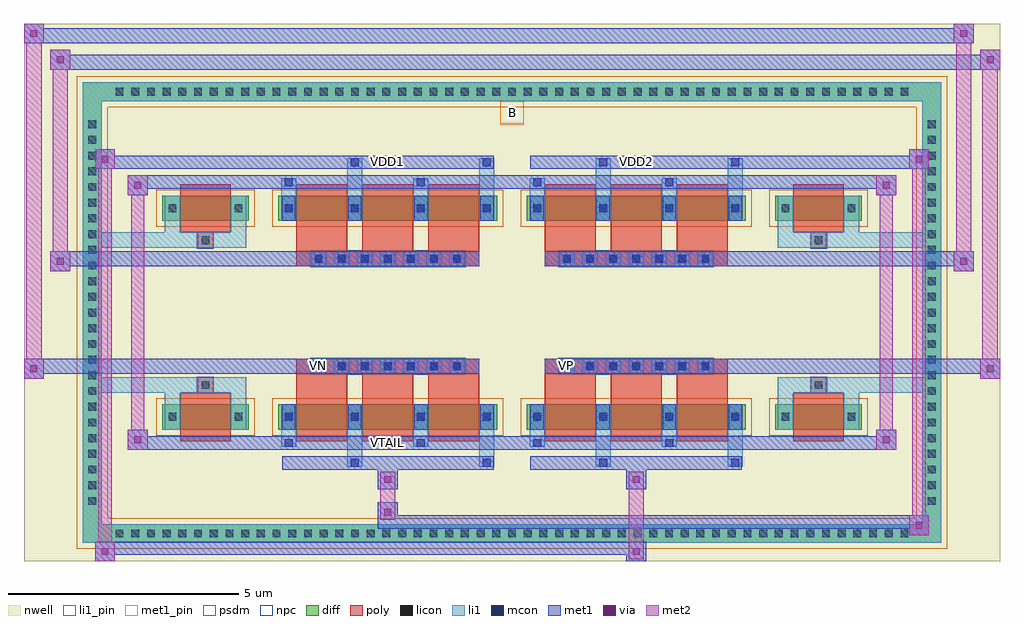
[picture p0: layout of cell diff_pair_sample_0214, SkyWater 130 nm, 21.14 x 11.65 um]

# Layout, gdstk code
import gdstk
lib = gdstk.Library(unit=1e-6, precision=5e-09)
def R(c, l, rs):  # rectangles x0, y0, x1, y1
    for r in rs: c.add(gdstk.rectangle(r[:2], r[2:], *l))
def A(c, l, x, y, w, h, nx, ny, dx, dy):  # array of equal rectangles
    R(c, l, [(x+i*dx, y+j*dy, x+i*dx+w, y+j*dy+h) for i in range(nx) for j in range(ny)])
def P(c, l, *ps):  # polygons
    for p in ps: c.add(gdstk.Polygon(p, *l))
nwell = (64, 20)
diff = (65, 20)
poly = (66, 20)
licon = (66, 44)
li1_pin = (67, 16)
li1 = (67, 20)
mcon = (67, 44)
met1_pin = (68, 16)
met1 = (68, 20)
via = (68, 44)
met2 = (69, 20)
psdm = (94, 20)
npc = (95, 20)

diff_pair_sample_0214 = lib.new_cell('diff_pair_sample_0214')
R(diff_pair_sample_0214, nwell, [(-10.57,-5.39,10.57,6.26), (-7.89,-3.58,-0.01,-0.8), (0.01,-3.58,7.89,-0.8), (-7.89,0.8,-0.01,3.58), (0.01,0.8,7.89,3.58)])
A(diff_pair_sample_0214, diff, -8.705, -4.99, 0.41, 0.41, 51, 2, 0.34, 9.57)
A(diff_pair_sample_0214, diff, -9.3, -4.285, 0.41, 0.41, 1, 25, 0, 0.34)
A(diff_pair_sample_0214, diff, 8.89, -4.285, 0.41, 0.41, 1, 25, 0, 0.34)
R(diff_pair_sample_0214, diff, [(-8.705,-4.99,8.705,-4.58), (-9.3,-4.285,-8.89,4.285), (8.89,-4.285,9.3,4.285), (-7.58,-2.535,-5.7,-1.985), (-5.06,-2.535,-0.32,-1.985), (0.32,-2.535,5.06,-1.985), (5.7,-2.535,7.58,-1.985), (-7.58,1.985,-5.7,2.535), (-5.06,1.985,-0.32,2.535), (0.32,1.985,5.06,2.535), (5.7,1.985,7.58,2.535), (-8.705,4.58,8.705,4.99)])
P(diff_pair_sample_0214, diff, [(9.3,4.99),(-9.3,4.99),(-9.3,-4.58),(-8.89,-4.58),(-8.89,4.58),(8.89,4.58),(8.89,-4.58),(-8.89,-4.58),(-9.3,-4.58),(-9.3,-4.99),(9.3,-4.99)])
A(diff_pair_sample_0214, poly, -4.67, -2.785, 1.1, 1.05, 3, 2, 1.43, 4.52)
A(diff_pair_sample_0214, poly, 0.71, -2.785, 1.1, 1.05, 3, 2, 1.43, 4.52)
A(diff_pair_sample_0214, poly, -4.67, -1.735, 1.1, 0.405, 3, 2, 1.43, 3.065)
A(diff_pair_sample_0214, poly, 0.71, -1.735, 1.1, 0.405, 3, 2, 1.43, 3.065)
A(diff_pair_sample_0214, poly, -4.355, -1.33, 0.33, 0.33, 7, 2, 0.5, 2.33)
A(diff_pair_sample_0214, poly, 1.025, -1.33, 0.33, 0.33, 7, 2, 0.5, 2.33)
R(diff_pair_sample_0214, poly, [(-7.19,-2.785,-6.09,-1.735), (6.09,-2.785,7.19,-1.735), (-6.805,-1.735,-6.475,-1.405), (-6.805,-1.735,-6.475,-1.405), (6.475,-1.735,6.805,-1.405), (6.475,-1.735,6.805,-1.405), (-4.67,-1.33,-0.71,-1), (0.71,-1.33,4.67,-1), (-4.67,1,-0.71,1.33), (0.71,1,4.67,1.33), (-6.805,1.405,-6.475,1.735), (-6.805,1.405,-6.475,1.735), (6.475,1.405,6.805,1.735), (6.475,1.405,6.805,1.735), (-7.19,1.735,-6.09,2.785), (6.09,1.735,7.19,2.785)])
A(diff_pair_sample_0214, licon, -8.585, -4.87, 0.17, 0.17, 51, 2, 0.34, 9.57)
A(diff_pair_sample_0214, licon, -9.18, -4.165, 0.17, 0.17, 1, 25, 0, 0.34)
A(diff_pair_sample_0214, licon, 9.01, -4.165, 0.17, 0.17, 1, 25, 0, 0.34)
A(diff_pair_sample_0214, licon, -4.92, -2.345, 0.17, 0.17, 4, 2, 1.43, 4.52)
A(diff_pair_sample_0214, licon, 0.46, -2.345, 0.17, 0.17, 4, 2, 1.43, 4.52)
A(diff_pair_sample_0214, licon, -4.275, -1.25, 0.17, 0.17, 7, 2, 0.5, 2.33)
A(diff_pair_sample_0214, licon, 1.105, -1.25, 0.17, 0.17, 7, 2, 0.5, 2.33)
R(diff_pair_sample_0214, licon, [(-7.44,-2.345,-7.27,-2.175), (-6.01,-2.345,-5.84,-2.175), (5.84,-2.345,6.01,-2.175), (7.27,-2.345,7.44,-2.175), (-6.725,-1.655,-6.555,-1.485), (6.555,-1.655,6.725,-1.485), (-6.725,1.485,-6.555,1.655), (6.555,1.485,6.725,1.655), (-7.44,2.175,-7.27,2.345), (-6.01,2.175,-5.84,2.345), (5.84,2.175,6.01,2.345), (7.27,2.175,7.44,2.345)])
R(diff_pair_sample_0214, li1_pin, [(-0.25,4.08,0.25,4.58)])
A(diff_pair_sample_0214, li1, -8.665, -4.95, 0.33, 0.33, 51, 2, 0.34, 9.57)
A(diff_pair_sample_0214, li1, -9.26, -4.245, 0.33, 0.33, 1, 25, 0, 0.34)
A(diff_pair_sample_0214, li1, 8.93, -4.245, 0.33, 0.33, 1, 25, 0, 0.34)
A(diff_pair_sample_0214, li1, -5, -2.535, 0.33, 0.55, 4, 2, 1.43, 4.52)
A(diff_pair_sample_0214, li1, 0.38, -2.535, 0.33, 0.55, 4, 2, 1.43, 4.52)
A(diff_pair_sample_0214, li1, -5, -2.425, 0.33, 0.33, 4, 2, 1.43, 4.52)
A(diff_pair_sample_0214, li1, 0.38, -2.425, 0.33, 0.33, 4, 2, 1.43, 4.52)
A(diff_pair_sample_0214, li1, -4.355, -1.33, 0.33, 0.33, 7, 2, 0.5, 2.33)
A(diff_pair_sample_0214, li1, 1.025, -1.33, 0.33, 0.33, 7, 2, 0.5, 2.33)
R(diff_pair_sample_0214, li1, [(-9.3,-4.99,-8.89,-4.58), (-9.3,-4.99,-8.89,-4.58), (-8.89,-4.99,8.89,-4.58), (8.89,-4.99,9.3,-4.58), (8.89,-4.99,9.3,-4.58), (-9.3,-4.58,-8.89,4.58), (8.89,-4.58,9.3,4.58), (-3.57,-3.34,-3.24,-2.535), (-3.49,-3.34,-3.32,-3.17), (-0.71,-3.34,-0.38,-2.535), (-0.63,-3.34,-0.46,-3.17), (1.81,-3.34,2.14,-2.535), (1.89,-3.34,2.06,-3.17), (4.67,-3.34,5,-2.535), (4.75,-3.34,4.92,-3.17), (-5,-2.91,-4.67,-2.535), (-4.92,-2.91,-4.75,-2.74), (-2.14,-2.91,-1.81,-2.535), (-2.06,-2.91,-1.89,-2.74), (0.38,-2.91,0.71,-2.535), (0.46,-2.91,0.63,-2.74), (3.24,-2.91,3.57,-2.535), (3.32,-2.91,3.49,-2.74), (-7.52,-2.535,-7.19,-1.985), (-6.09,-2.535,-5.76,-1.985), (5.76,-2.535,6.09,-1.985), (7.19,-2.535,7.52,-1.985), (-7.52,-2.425,-7.19,-2.095), (-6.09,-2.425,-5.76,-2.095), (5.76,-2.425,6.09,-2.095), (7.19,-2.425,7.52,-2.095), (-4.92,-2.345,-4.75,-2.175), (-4.92,-2.345,-4.75,-2.175), (-3.49,-2.345,-3.32,-2.175), (-3.49,-2.345,-3.32,-2.175), (-2.06,-2.345,-1.89,-2.175), (-2.06,-2.345,-1.89,-2.175), (-0.63,-2.345,-0.46,-2.175), (-0.63,-2.345,-0.46,-2.175), (0.46,-2.345,0.63,-2.175), (0.46,-2.345,0.63,-2.175), (1.89,-2.345,2.06,-2.175), (1.89,-2.345,2.06,-2.175), (3.32,-2.345,3.49,-2.175), (3.32,-2.345,3.49,-2.175), (4.75,-2.345,4.92,-2.175), (4.75,-2.345,4.92,-2.175), (-7.52,-1.985,-7.19,-1.405), (-6.09,-1.985,-5.76,-1.405), (5.76,-1.985,6.09,-1.405), (7.19,-1.985,7.52,-1.405), (-9.3,-1.735,-6.805,-1.405), (-7.52,-1.735,-6.805,-1.405), (-6.805,-1.735,-6.475,-1.405), (-6.475,-1.735,-5.76,-1.405), (5.76,-1.735,6.475,-1.405), (6.475,-1.735,6.805,-1.405), (6.475,-1.735,9.3,-1.405), (6.805,-1.735,7.52,-1.405), (-9.3,1.405,-6.805,1.735), (-7.52,1.405,-6.805,1.735), (-7.52,1.405,-7.19,1.985), (-6.805,1.405,-6.475,1.735), (-6.475,1.405,-5.76,1.735), (-6.09,1.405,-5.76,1.985), (5.76,1.405,6.475,1.735), (5.76,1.405,6.09,1.985), (6.475,1.405,6.805,1.735), (6.475,1.405,9.3,1.735), (6.805,1.405,7.52,1.735), (7.19,1.405,7.52,1.985), (-7.52,1.985,-7.19,2.535), (-6.09,1.985,-5.76,2.535), (5.76,1.985,6.09,2.535), (7.19,1.985,7.52,2.535), (-7.52,2.095,-7.19,2.425), (-6.09,2.095,-5.76,2.425), (5.76,2.095,6.09,2.425), (7.19,2.095,7.52,2.425), (-4.92,2.175,-4.75,2.345), (-4.92,2.175,-4.75,2.345), (-3.49,2.175,-3.32,2.345), (-3.49,2.175,-3.32,2.345), (-2.06,2.175,-1.89,2.345), (-2.06,2.175,-1.89,2.345), (-0.63,2.175,-0.46,2.345), (-0.63,2.175,-0.46,2.345), (0.46,2.175,0.63,2.345), (0.46,2.175,0.63,2.345), (1.89,2.175,2.06,2.345), (1.89,2.175,2.06,2.345), (3.32,2.175,3.49,2.345), (3.32,2.175,3.49,2.345), (4.75,2.175,4.92,2.345), (4.75,2.175,4.92,2.345), (-5,2.535,-4.67,2.91), (-3.57,2.535,-3.24,3.34), (-2.14,2.535,-1.81,2.91), (-0.71,2.535,-0.38,3.34), (0.38,2.535,0.71,2.91), (1.81,2.535,2.14,3.34), (3.24,2.535,3.57,2.91), (4.67,2.535,5,3.34), (-4.92,2.74,-4.75,2.91), (-2.06,2.74,-1.89,2.91), (0.46,2.74,0.63,2.91), (3.32,2.74,3.49,2.91), (-3.49,3.17,-3.32,3.34), (-0.63,3.17,-0.46,3.34), (1.89,3.17,2.06,3.34), (4.75,3.17,4.92,3.34), (-9.3,4.58,-8.89,4.99), (-9.3,4.58,-8.89,4.99), (-8.89,4.58,8.89,4.99), (8.89,4.58,9.3,4.99), (8.89,4.58,9.3,4.99)])
A(diff_pair_sample_0214, mcon, -4.92, -2.345, 0.17, 0.17, 4, 2, 1.43, 4.52)
A(diff_pair_sample_0214, mcon, 0.46, -2.345, 0.17, 0.17, 4, 2, 1.43, 4.52)
A(diff_pair_sample_0214, mcon, -4.275, -1.25, 0.17, 0.17, 7, 2, 0.5, 2.33)
A(diff_pair_sample_0214, mcon, 1.105, -1.25, 0.17, 0.17, 7, 2, 0.5, 2.33)
R(diff_pair_sample_0214, mcon, [(-3.49,-3.34,-3.32,-3.17), (-0.63,-3.34,-0.46,-3.17), (1.89,-3.34,2.06,-3.17), (4.75,-3.34,4.92,-3.17), (-4.92,-2.91,-4.75,-2.74), (-2.06,-2.91,-1.89,-2.74), (0.46,-2.91,0.63,-2.74), (3.32,-2.91,3.49,-2.74), (-4.92,2.74,-4.75,2.91), (-2.06,2.74,-1.89,2.91), (0.46,2.74,0.63,2.91), (3.32,2.74,3.49,2.91), (-3.49,3.17,-3.32,3.34), (-0.63,3.17,-0.46,3.34), (1.89,3.17,2.06,3.34), (4.75,3.17,4.92,3.34)])
R(diff_pair_sample_0214, met1_pin, [(-2.825,-2.95,-2.555,-2.68), (-4.325,-1.29,-4.055,-1.02), (1.055,-1.29,1.325,-1.02), (-2.825,3.13,-2.555,3.4), (2.555,3.13,2.825,3.4)])
A(diff_pair_sample_0214, met1, -4.98, -2.535, 0.29, 0.55, 4, 2, 1.43, 4.52)
A(diff_pair_sample_0214, met1, 0.4, -2.535, 0.29, 0.55, 4, 2, 1.43, 4.52)
A(diff_pair_sample_0214, met1, -4.98, -2.405, 0.29, 0.29, 4, 2, 1.43, 4.52)
A(diff_pair_sample_0214, met1, 0.4, -2.405, 0.29, 0.29, 4, 2, 1.43, 4.52)
A(diff_pair_sample_0214, met1, -4.335, -1.31, 0.29, 0.29, 7, 2, 0.5, 2.33)
A(diff_pair_sample_0214, met1, 1.045, -1.31, 0.29, 0.29, 7, 2, 0.5, 2.33)
R(diff_pair_sample_0214, met1, [(-9.03,-5.39,-8.6,-4.96), (2.475,-5.39,2.905,-4.96), (-9.03,-5.25,2.905,-4.96), (8.6,-4.82,9.03,-4.39), (-2.905,-4.68,9.03,-4.39), (-2.905,-4.54,-2.475,-4.11), (-2.905,-3.83,-2.475,-3.4), (2.475,-3.83,2.905,-3.4), (-4.98,-3.4,-0.4,-3.11), (-3.55,-3.4,-3.26,-3.11), (-0.69,-3.4,-0.4,-3.11), (0.4,-3.4,4.98,-3.11), (1.83,-3.4,2.12,-3.11), (4.69,-3.4,4.98,-3.11), (-8.32,-2.97,-7.89,-2.54), (-8.32,-2.97,-4.98,-2.68), (-4.98,-2.97,-4.69,-2.68), (-4.98,-2.97,-0.4,-2.68), (-2.12,-2.97,-1.83,-2.68), (-0.4,-2.97,0.4,-2.68), (0.4,-2.97,0.69,-2.68), (0.4,-2.97,4.98,-2.68), (3.26,-2.97,3.55,-2.68), (4.98,-2.97,8.32,-2.68), (7.89,-2.97,8.32,-2.54), (-10.57,-1.43,-10.14,-1), (10.14,-1.43,10.57,-1), (-10.57,-1.33,-0.71,-1), (-4.67,-1.33,-0.71,-1), (0.71,-1.33,4.67,-1), (0.71,-1.33,10.57,-1), (-10,0.9,-9.57,1.33), (9.57,0.9,10,1.33), (-10,1,-4.67,1.33), (-4.67,1,-0.71,1.33), (0.71,1,4.67,1.33), (4.67,1,10,1.33), (-8.32,2.54,-7.89,2.97), (7.89,2.54,8.32,2.97), (-8.32,2.68,-4.98,2.97), (-4.98,2.68,-4.69,2.97), (-4.98,2.68,-0.4,2.97), (-2.12,2.68,-1.83,2.97), (-0.4,2.68,0.4,2.97), (0.4,2.68,0.69,2.97), (0.4,2.68,4.98,2.97), (3.26,2.68,3.55,2.97), (4.98,2.68,8.32,2.97), (-9.03,3.11,-8.6,3.54), (-9.03,3.11,-4.98,3.4), (-4.98,3.11,-0.4,3.4), (-3.55,3.11,-3.26,3.4), (-0.69,3.11,-0.4,3.4), (0.4,3.11,4.98,3.4), (1.83,3.11,2.12,3.4), (4.69,3.11,4.98,3.4), (4.98,3.11,9.03,3.4), (8.6,3.11,9.03,3.54), (-10,5.26,-9.57,5.69), (-10,5.26,-7.89,5.59), (-7.89,5.26,7.89,5.59), (7.89,5.26,10.57,5.59), (10.14,5.26,10.57,5.69), (-10.57,5.83,-10.14,6.26), (-10.57,5.83,-7.89,6.16), (-7.89,5.83,7.89,6.16), (7.89,5.83,10,6.16), (9.57,5.83,10,6.26)])
R(diff_pair_sample_0214, via, [(-8.89,-5.25,-8.74,-5.1), (2.615,-5.25,2.765,-5.1), (8.74,-4.68,8.89,-4.53), (-2.765,-4.4,-2.615,-4.25), (-2.765,-3.69,-2.615,-3.54), (2.615,-3.69,2.765,-3.54), (-8.18,-2.83,-8.03,-2.68), (8.03,-2.83,8.18,-2.68), (-10.43,-1.29,-10.28,-1.14), (10.28,-1.29,10.43,-1.14), (-9.86,1.04,-9.71,1.19), (9.71,1.04,9.86,1.19), (-8.18,2.68,-8.03,2.83), (8.03,2.68,8.18,2.83), (-8.89,3.25,-8.74,3.4), (8.74,3.25,8.89,3.4), (-9.86,5.4,-9.71,5.55), (10.28,5.4,10.43,5.55), (-10.43,5.97,-10.28,6.12), (9.71,5.97,9.86,6.12)])
R(diff_pair_sample_0214, met2, [(-9.03,-5.39,-8.6,-4.96), (-8.96,-5.39,-8.67,3.54), (-8.67,-5.39,-8.6,-4.96), (-8.98,-5.34,-8.65,-5.01), (2.525,-5.34,2.855,-5.01), (2.525,-5.01,2.855,-3.78), (8.6,-4.82,9.03,-4.39), (8.67,-4.82,8.96,3.54), (8.96,-4.82,9.03,-4.39), (8.65,-4.77,8.98,-4.44), (-2.855,-4.49,-2.525,-4.16), (-2.855,-4.16,-2.525,-3.78), (-2.855,-3.78,-2.525,-3.45), (2.525,-3.78,2.855,-3.45), (-8.32,-2.97,-7.89,-2.54), (-8.25,-2.97,-7.96,2.97), (-7.96,-2.97,-7.89,-2.54), (7.89,-2.97,8.32,-2.54), (7.96,-2.97,8.25,2.97), (8.25,-2.97,8.32,-2.54), (-8.27,-2.92,-7.94,-2.59), (7.94,-2.92,8.27,-2.59), (-10.57,-1.43,-10.14,-1), (-10.52,-1.43,-10.19,6.26), (-10.19,-1.43,-10.14,-1), (10.14,-1.43,10.57,-1), (10.19,-1.43,10.52,5.69), (10.52,-1.43,10.57,-1), (-10.52,-1.38,-10.19,-1.05), (10.19,-1.38,10.52,-1.05), (-10,0.9,-9.57,1.33), (-9.95,0.9,-9.62,5.69), (-9.62,0.9,-9.57,1.33), (9.57,0.9,10,1.33), (9.62,0.9,9.95,6.26), (9.95,0.9,10,1.33), (-9.95,0.95,-9.62,1.28), (9.62,0.95,9.95,1.28), (-8.32,2.54,-7.89,2.97), (-7.96,2.54,-7.89,2.97), (7.89,2.54,8.32,2.97), (8.25,2.54,8.32,2.97), (-8.27,2.59,-7.94,2.92), (7.94,2.59,8.27,2.92), (-9.03,3.11,-8.6,3.54), (-8.67,3.11,-8.6,3.54), (8.6,3.11,9.03,3.54), (8.96,3.11,9.03,3.54), (-8.98,3.16,-8.65,3.49), (8.65,3.16,8.98,3.49), (-10,5.26,-9.57,5.69), (-9.62,5.26,-9.57,5.69), (10.14,5.26,10.57,5.69), (10.52,5.26,10.57,5.69), (-9.95,5.31,-9.62,5.64), (10.19,5.31,10.52,5.64), (-10.57,5.83,-10.14,6.26), (-10.19,5.83,-10.14,6.26), (9.57,5.83,10,6.26), (9.95,5.83,10,6.26), (-10.52,5.88,-10.19,6.21), (9.62,5.88,9.95,6.21)])
R(diff_pair_sample_0214, psdm, [(-7.71,-2.665,-5.57,-1.855), (-5.19,-2.665,-0.19,-1.855), (0.19,-2.665,5.19,-1.855), (5.57,-2.665,7.71,-1.855), (-7.71,1.855,-5.57,2.665), (-5.19,1.855,-0.19,2.665), (0.19,1.855,5.19,2.665), (5.57,1.855,7.71,2.665)])
P(diff_pair_sample_0214, psdm, [(9.43,5.12),(-9.43,5.12),(-9.43,-4.45),(-8.76,-4.45),(-8.76,4.45),(8.76,4.45),(8.76,-4.45),(-8.76,-4.45),(-9.43,-4.45),(-9.43,-5.12),(9.43,-5.12)])
A(diff_pair_sample_0214, npc, -4.375, -1.35, 0.37, 0.37, 7, 2, 0.5, 2.33)
A(diff_pair_sample_0214, npc, 1.005, -1.35, 0.37, 0.37, 7, 2, 0.5, 2.33)
R(diff_pair_sample_0214, npc, [(-6.825,-1.755,-6.455,-1.385), (6.455,-1.755,6.825,-1.385), (-4.375,-1.35,-3.505,-0.98), (-4.375,-1.35,-3.505,-0.98), (-3.875,-1.35,-3.005,-0.98), (-3.875,-1.35,-3.005,-0.98), (-3.375,-1.35,-2.505,-0.98), (-3.375,-1.35,-2.505,-0.98), (-2.875,-1.35,-2.005,-0.98), (-2.875,-1.35,-2.005,-0.98), (-2.375,-1.35,-1.505,-0.98), (-2.375,-1.35,-1.505,-0.98), (-1.875,-1.35,-1.005,-0.98), (-1.875,-1.35,-1.005,-0.98), (1.005,-1.35,1.875,-0.98), (1.005,-1.35,1.875,-0.98), (1.505,-1.35,2.375,-0.98), (1.505,-1.35,2.375,-0.98), (2.005,-1.35,2.875,-0.98), (2.005,-1.35,2.875,-0.98), (2.505,-1.35,3.375,-0.98), (2.505,-1.35,3.375,-0.98), (3.005,-1.35,3.875,-0.98), (3.005,-1.35,3.875,-0.98), (3.505,-1.35,4.375,-0.98), (3.505,-1.35,4.375,-0.98), (-4.375,0.98,-3.505,1.35), (-4.375,0.98,-3.505,1.35), (-3.875,0.98,-3.005,1.35), (-3.875,0.98,-3.005,1.35), (-3.375,0.98,-2.505,1.35), (-3.375,0.98,-2.505,1.35), (-2.875,0.98,-2.005,1.35), (-2.875,0.98,-2.005,1.35), (-2.375,0.98,-1.505,1.35), (-2.375,0.98,-1.505,1.35), (-1.875,0.98,-1.005,1.35), (-1.875,0.98,-1.005,1.35), (1.005,0.98,1.875,1.35), (1.005,0.98,1.875,1.35), (1.505,0.98,2.375,1.35), (1.505,0.98,2.375,1.35), (2.005,0.98,2.875,1.35), (2.005,0.98,2.875,1.35), (2.505,0.98,3.375,1.35), (2.505,0.98,3.375,1.35), (3.005,0.98,3.875,1.35), (3.005,0.98,3.875,1.35), (3.505,0.98,4.375,1.35), (3.505,0.98,4.375,1.35), (-6.825,1.385,-6.455,1.755), (6.455,1.385,6.825,1.755)])
diff_pair_sample_0214.add(gdstk.Label('VTAIL', (-2.69,-2.815), layer=68, texttype=5))
diff_pair_sample_0214.add(gdstk.Label('VN', (-4.19,-1.155), layer=68, texttype=5))
diff_pair_sample_0214.add(gdstk.Label('VP', (1.19,-1.155), layer=68, texttype=5))
diff_pair_sample_0214.add(gdstk.Label('B', (0,4.33), layer=67, texttype=5))
diff_pair_sample_0214.add(gdstk.Label('VDD2', (2.69,3.265), layer=68, texttype=5))
diff_pair_sample_0214.add(gdstk.Label('VDD1', (-2.69,3.265), layer=68, texttype=5))

lib.write_gds('diff_pair_sample_0214.gds')
